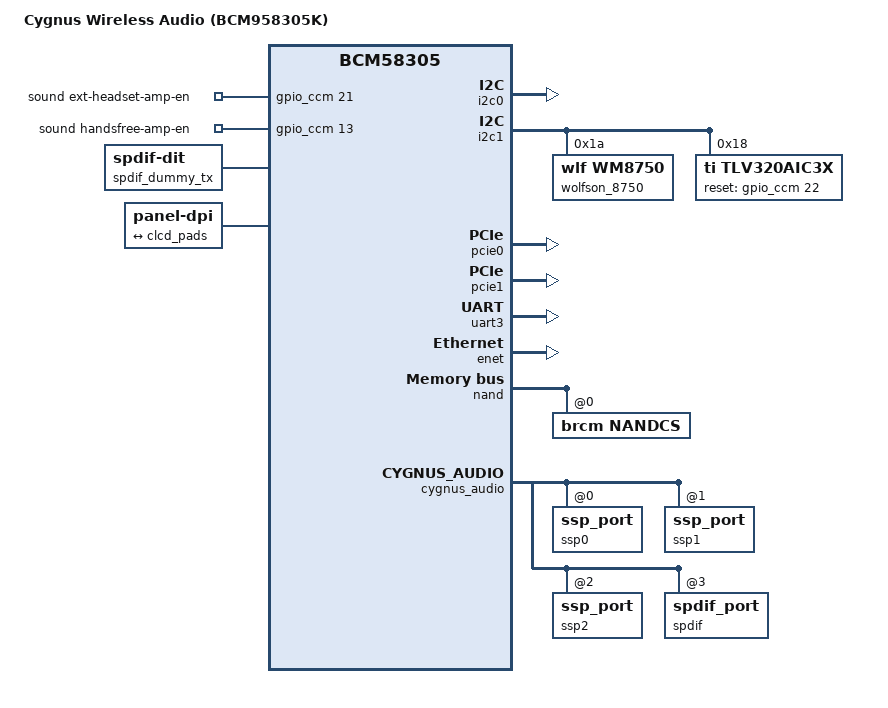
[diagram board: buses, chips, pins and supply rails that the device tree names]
/*
 *  BSD LICENSE
 *
 *  Copyright(c) 2017 Broadcom.  All rights reserved.
 *
 *  Redistribution and use in source and binary forms, with or without
 *  modification, are permitted provided that the following conditions
 *  are met:
 *
 *    * Redistributions of source code must retain the above copyright
 *      notice, this list of conditions and the following disclaimer.
 *    * Redistributions in binary form must reproduce the above copyright
 *      notice, this list of conditions and the following disclaimer in
 *      the documentation and/or other materials provided with the
 *      distribution.
 *    * Neither the name of Broadcom Corporation nor the names of its
 *      contributors may be used to endorse or promote products derived
 *      from this software without specific prior written permission.
 *
 *  THIS SOFTWARE IS PROVIDED BY THE COPYRIGHT HOLDERS AND CONTRIBUTORS
 *  "AS IS" AND ANY EXPRESS OR IMPLIED WARRANTIES, INCLUDING, BUT NOT
 *  LIMITED TO, THE IMPLIED WARRANTIES OF MERCHANTABILITY AND FITNESS FOR
 *  A PARTICULAR PURPOSE ARE DISCLAIMED. IN NO EVENT SHALL THE COPYRIGHT
 *  OWNER OR CONTRIBUTORS BE LIABLE FOR ANY DIRECT, INDIRECT, INCIDENTAL,
 *  SPECIAL, EXEMPLARY, OR CONSEQUENTIAL DAMAGES (INCLUDING, BUT NOT
 *  LIMITED TO, PROCUREMENT OF SUBSTITUTE GOODS OR SERVICES; LOSS OF USE,
 *  DATA, OR PROFITS; OR BUSINESS INTERRUPTION) HOWEVER CAUSED AND ON ANY
 *  THEORY OF LIABILITY, WHETHER IN CONTRACT, STRICT LIABILITY, OR TORT
 *  (INCLUDING NEGLIGENCE OR OTHERWISE) ARISING IN ANY WAY OUT OF THE USE
 * OF THIS SOFTWARE, EVEN IF ADVISED OF THE POSSIBILITY OF SUCH DAMAGE.
 */

/dts-v1/;

#include "bcm-cygnus.dtsi"
#include "bcm9hmidc.dtsi"

/ {
	model = "Cygnus Wireless Audio (BCM958305K)";
	compatible = "brcm,bcm58305", "brcm,cygnus";

	aliases {
		serial0 = &uart3;
	};

	chosen {
		stdout-path = "serial0:115200n8";
	};

	sound {
		compatible = "brcm,cygnussvk-machine";
		status = "okay";

		brcm,ext-headset-amp-en-gpio = <&gpio_ccm 21 0>;
		brcm,handsfree-amp-en-gpio = <&gpio_ccm 13 0>;
		brcm,scslot = <1>; /* 0 = slot 0, all else = 1 */

		dai-link@0 {
			format = "i2s";
			bitclock-master = <&dailink0_master>;
			frame-master = <&dailink0_master>;

			dailink0_master: cpu {
				sound-dai = <&cygnus_audio 0>;
			};

			codec {
				sound-dai = <&bcm_dummy_codec>;
			};
		};

		dai-link@1 {
			format = "i2s";
			bitclock-master = <&dailink1_master>;
			frame-master = <&dailink1_master>;

			dailink1_master: cpu {
				sound-dai = <&cygnus_audio 1>;
			};

			codec {
				sound-dai = <&tlv320aic3x>;
			};
		};

		dai-link@2 {
			format = "i2s";
			bitclock-master = <&dailink2_master>;
			frame-master = <&dailink2_master>;

			dailink2_master: cpu {
				sound-dai = <&cygnus_audio 2>;
			};

			codec {
				sound-dai = <&wolfson_8750>;
			};
		};

		dai-link@3 {
			format = "i2s";
			bitclock-master = <&dailink3_master>;
			frame-master = <&dailink3_master>;

			dailink3_master: cpu {
				sound-dai = <&cygnus_audio 3>;
			};

			codec {
				sound-dai = <&spdif_dummy_tx>;
			};
		};
	};

	bcm_dummy_codec: dummy_codec {
		#sound-dai-cells = <0>;
		status = "okay";
		compatible = "brcm,dummy_codec";
	};

	/* dummy codec to model spdif tx */
	spdif_dummy_tx: spdif_tx {
		#sound-dai-cells = <0>;
		status = "okay";
		compatible = "linux,spdif-dit";
	};
};

&i2c0 {
	status = "okay";
};

&i2c1 {
	status = "okay";

	wolfson_8750: wm8750@1a {
		#sound-dai-cells = <0>;
		compatible = "wlf,wm8750";
		reg = <0x1a>;
	};

	tlv320aic3x: tlv320aic3x@18 {
		#sound-dai-cells = <0>;
		compatible = "ti,tlv320aic3x";
		reg = <0x18>;
		ai3x-micbias-vg = <2>;
		gpio-reset = <&gpio_ccm 22 0>;
		status = "okay";
	};
};

&pcie0 {
	status = "okay";
};

&pcie1 {
	status = "okay";
};

&uart3 {
	status = "okay";
};

&enet {
	status = "okay";
};

&nand {
	nandcs@1 {
		compatible = "brcm,nandcs";
		reg = <0>;
		nand-on-flash-bbt;

		#address-cells = <1>;
		#size-cells = <1>;

		nand-ecc-strength = <24>;
		nand-ecc-step-size = <1024>;

		brcm,nand-oob-sector-size = <27>;
	};
};

&pinctrl {
	pinctrl-names = "default";
	pinctrl-0 = <&i2s0_default_mux &i2s1_default_mux &i2s2_default_mux>;
};

&cygnus_audio {
	#sound-dai-cells = <1>;

	ssp0: ssp_port@0 {
		status = "okay";
	};

	ssp1: ssp_port@1 {
		status = "okay";
	};

	ssp2: ssp_port@2 {
		status = "okay";
	};

	spdif: spdif_port@3 {
		status = "okay";
	};
};

&mipipll {
	assigned-clocks = <&mipipll 2>, <&mipipll 0>;
	assigned-clock-parents = <&mipipll 0>;
	assigned-clock-rates = <0>, <2100000000>;
};

&clcd {
	clocks =  <&mipipll 2>, <&apb_clk>;
	clcd-clock-select = <1>;

	port {
		clcd_pads: endpoint {
			remote-endpoint = <&clcd_panel>;
			arm,pl11x,tft-r0g0b0-pads = <0 8 16>;
		};
	};

	panel {
		compatible = "panel-dpi";
		port {
			clcd_panel: endpoint {
				remote-endpoint = <&clcd_pads>;
			};
		};
	};
};
